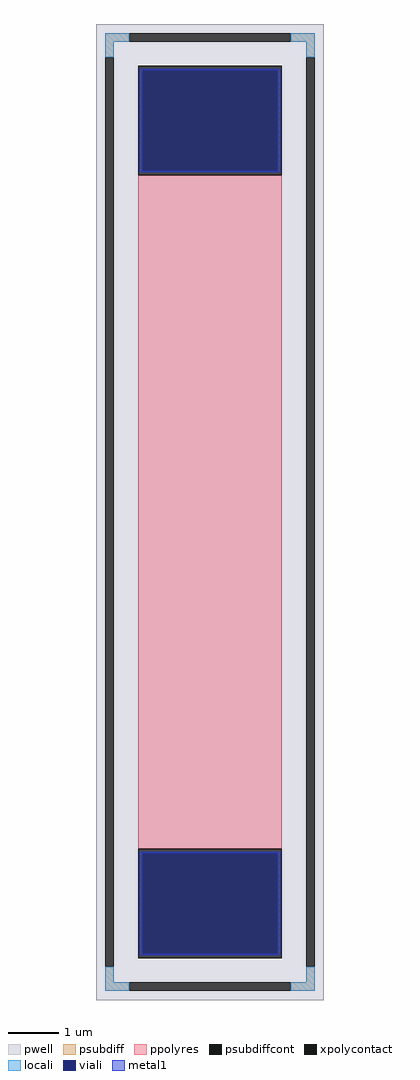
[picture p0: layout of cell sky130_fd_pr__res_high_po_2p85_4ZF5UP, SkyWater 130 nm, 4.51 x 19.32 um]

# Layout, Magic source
magic
tech sky130A
magscale 1 2
<< pwell >>
rect -451 -1932 451 1932
<< psubdiff >>
rect -415 1862 -319 1896
rect 319 1862 415 1896
rect -415 1800 -381 1862
rect 381 1800 415 1862
rect -415 -1862 -381 -1800
rect 381 -1862 415 -1800
rect -415 -1896 -319 -1862
rect 319 -1896 415 -1862
<< psubdiffcont >>
rect -319 1862 319 1896
rect -415 -1800 -381 1800
rect 381 -1800 415 1800
rect -319 -1896 319 -1862
<< xpolycontact >>
rect -285 1334 285 1766
rect -285 -1766 285 -1334
<< ppolyres >>
rect -285 -1334 285 1334
<< locali >>
rect -415 1862 -319 1896
rect 319 1862 415 1896
rect -415 1800 -381 1862
rect 381 1800 415 1862
rect -415 -1862 -381 -1800
rect 381 -1862 415 -1800
rect -415 -1896 -319 -1862
rect 319 -1896 415 -1862
<< viali >>
rect -269 1351 269 1748
rect -269 -1748 269 -1351
<< metal1 >>
rect -281 1748 281 1754
rect -281 1351 -269 1748
rect 269 1351 281 1748
rect -281 1345 281 1351
rect -281 -1351 281 -1345
rect -281 -1748 -269 -1351
rect 269 -1748 281 -1351
rect -281 -1754 281 -1748
<< properties >>
string FIXED_BBOX -398 -1879 398 1879
string gencell sky130_fd_pr__res_high_po_2p85
string library sky130
string parameters w 2.850 l 13.5 m 1 nx 1 wmin 2.850 lmin 0.50 class resistor rho 319.8 val 1.651k dummy 0 dw 0.0 term 194.82 sterm 0.0 caplen 0 guard 1 glc 1 grc 1 gtc 1 gbc 1 compatible {sky130_fd_pr__res_high_po_0p35  sky130_fd_pr__res_high_po_0p69 sky130_fd_pr__res_high_po_1p41  sky130_fd_pr__res_high_po_2p85 sky130_fd_pr__res_high_po_5p73} snake 0 full_metal 1 wmax 2.850 n_guard 0 hv_guard 0 vias 1 viagb 0 viagt 0 viagl 0 viagr 0
<< end >>
